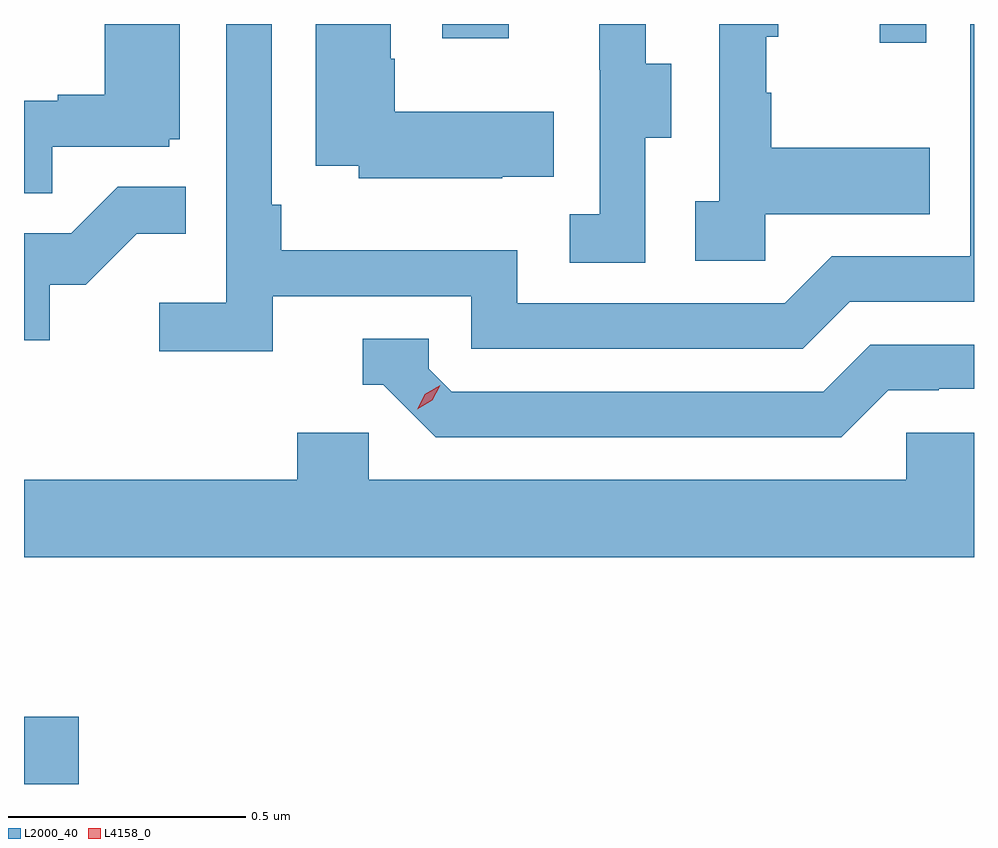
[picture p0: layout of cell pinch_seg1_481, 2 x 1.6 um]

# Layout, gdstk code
import gdstk
lib = gdstk.Library(unit=1e-6, precision=1e-09)
def R(c, l, rs):  # rectangles x0, y0, x1, y1
    for r in rs: c.add(gdstk.rectangle(r[:2], r[2:], *l))
def P(c, l, *ps):  # polygons
    for p in ps: c.add(gdstk.Polygon(p, *l))
L2000_40 = (2000, 40)
L4158_0 = (4158, 0)

pinch_seg1_481 = lib.new_cell('pinch_seg1_481')
R(pinch_seg1_481, L2000_40, [(1078.482,535.271,1078.597,535.413), (1080.284,536.832,1080.381,536.871), (1079.363,536.841,1079.503,536.871)])
P(pinch_seg1_481, L2000_40, [(1080.042,536.471),(1080.389,536.471),(1080.389,536.611),(1080.055,536.611),(1080.055,536.726),(1080.045,536.726),(1080.045,536.844),(1080.07,536.844),(1080.07,536.871),(1079.946,536.871),(1079.946,536.498),(1079.895,536.498),(1079.895,536.373),(1080.042,536.373)],
  [(1079.79,536.632),(1079.845,536.632),(1079.845,536.787),(1079.791,536.787),(1079.791,536.871),(1079.693,536.871),(1079.693,536.775),(1079.694,536.775),(1079.694,536.471),(1079.631,536.471),(1079.631,536.368),(1079.79,536.368)],
  [(1079.489,536.549),(1079.597,536.549),(1079.597,536.686),(1079.262,536.686),(1079.262,536.798),(1079.254,536.798),(1079.254,536.871),(1079.096,536.871),(1079.096,536.573),(1079.187,536.573),(1079.187,536.546),(1079.489,536.546)],
  [(1079.006,536.298),(1079.424,536.298),(1079.424,536.187),(1080.121,536.187),(1080.22,536.286),(1080.482,536.286),(1080.482,536.871),(1080.474,536.871),(1080.474,536.382),(1080.183,536.382),(1080.084,536.283),(1079.52,536.283),(1079.52,536.395),(1079.024,536.395),(1079.024,536.491),(1079.004,536.491),(1079.004,536.871),(1078.908,536.871),(1078.908,536.284),(1078.767,536.284),(1078.767,536.182),(1079.006,536.182)],
  [(1078.541,536.613),(1078.788,536.613),(1078.788,536.628),(1078.81,536.628),(1078.81,536.871),(1078.652,536.871),(1078.652,536.722),(1078.553,536.722),(1078.553,536.709),(1078.482,536.709),(1078.482,536.515),(1078.541,536.515)],
  [(1078.536,536.322),(1078.612,536.322),(1078.719,536.429),(1078.823,536.429),(1078.823,536.528),(1078.679,536.528),(1078.581,536.43),(1078.482,536.43),(1078.482,536.205),(1078.536,536.205)],
  [(1080.301,536.1),(1080.408,536.1),(1080.408,536.103),(1080.482,536.103),(1080.482,536.196),(1080.264,536.196),(1080.165,536.097),(1079.382,536.097),(1079.334,536.145),(1079.334,536.208),(1079.195,536.208),(1079.195,536.112),(1079.238,536.112),(1079.349,536.001),(1080.202,536.001)],
  [(1080.482,536.01),(1080.339,536.01),(1080.339,535.912),(1079.208,535.912),(1079.208,536.01),(1079.057,536.01),(1079.057,535.912),(1078.482,535.912),(1078.482,535.748),(1080.482,535.748)])
P(pinch_seg1_481, L4158_0, [(1079.31,536.06),(1079.31,536.06),(1079.326,536.092),(1079.358,536.111),(1079.358,536.111),(1079.358,536.111),(1079.341,536.079),(1079.31,536.06)])

lib.write_gds('pinch_seg1_481.gds')
